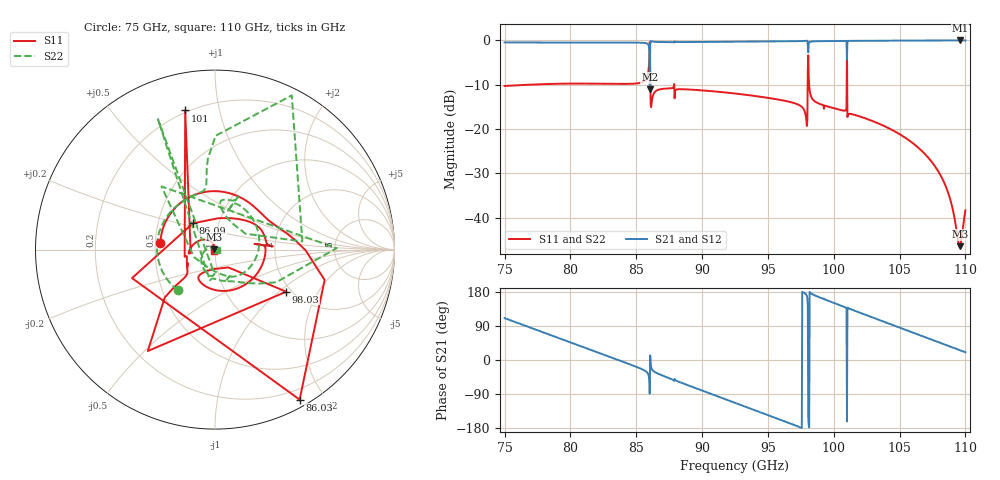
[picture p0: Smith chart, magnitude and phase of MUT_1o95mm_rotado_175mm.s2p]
! TOUCHSTONE file generated by CST MICROWAVE STUDIO
! Date and time: Wed Feb 14 17:05:47 2024
! Project name: material_rotado.cst
! Parameters = {angY=1.75}
! Header version: 2018
! Port assignment regex: !\s*Touchstone port\s*([0-9]+)\s*=\s*(CST MWS port|CST DS port)\s*([0-9]+|Zmin|Zmax)\s*\(\"(.*)\"\)(\s*mode\s*([0-9]+))?.*
! Touchstone port assignment:
! Touchstone port 1 = CST MWS port 1 ("")
! Touchstone port 2 = CST MWS port 2 ("")
# GHz S MA R 376.7
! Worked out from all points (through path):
!   1001 points, 75 GHz to 110 GHz, reference 376.7 ohm
!   highest |S21| = 0.00 dB at 109.6 GHz (marker M1); lowest = -11.0 dB at 86.03 GHz (marker M2)
!   lowest |S11| = -46.5 dB at 109.6 GHz (marker M3), VSWR 1.01, Z = 373 + j0.494 ohm
!   |S11| at or under -10 dB: 87.88 GHz to 98.02 GHz (10.14 GHz wide, 10.9 % of centre); 98.13 GHz to 101 GHz (2.852 GHz wide, 2.87 % of centre); 101 GHz to end of sweep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
!   |S22| runs from -46.8 to -0.4 dB; largest |S21 - S12| = 0
!   S11 on the Smith chart (normalised r, x): 75 GHz: 0.53, +0.04; 86.03 GHz: 0.08, -1.71; 86.09 GHz: 0.75, +0.23; 98.03 GHz: 1.88, -1.12; 101 GHz: 0.19, +0.79; 110 GHz: 0.98, -0.02
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75  0.3064 173.2  0.9519 110.5  0.9519 110.5  0.3064 -132.2
77.835  0.3207 135.9  0.9467 74.3  0.9467 74.3  0.3203 -167.5
80.845  0.3259 96.2  0.9455 35.9  0.9455 35.9  0.3251 155.6
83.855  0.323 55.4  0.9464 -2.8  0.9464 -2.8  0.323 119.0
85.5  0.339 29.2  0.9408 -25.4  0.9408 -25.4  0.339 99.9
85.85  0.3954 15.2  0.9185 -34.0  0.9185 -34.0  0.3954 96.9
86.025  0.9597 -60.6  0.2808 -88.5  0.2808 -88.5  0.9598 63.5
86.095  0.1913 130.2  0.9815 -11.1  0.9815 -11.1  0.1913 27.6
86.27  0.2391 41.9  0.971 -28.0  0.971 -28.0  0.2391 82.1
86.69  0.2778 24.7  0.9607 -36.6  0.9607 -36.6  0.2778 82.0
89.63  0.2756 -18.9  0.9609 -75.7  0.9609 -75.7  0.2756 47.4
92.5  0.2517 -57.3  0.9678 -112.8  0.9678 -112.8  0.2517 11.8
95.755  0.2156 -100.0  0.9765 -154.9  0.9765 -154.9  0.2152 -29.8
97.82  0.154 -119.6  0.9881 175.7  0.9881 175.7  0.154 -69.1
98.03  0.4608 -30.6  0.8875 139.8  0.8875 139.8  0.4608 130.2
98.345  0.2225 -137.5  0.9749 174.2  0.9749 174.2  0.2225 -54.1
101.005  0.793 102.1  0.6092 -162.1  0.6092 -162.1  0.793 113.6
104.19  0.1018 150.8  0.9947 96.1  0.9947 96.1  0.1018 -138.6
107.9  0.03403 108.0  0.9994 47.7  0.9994 47.7  0.03405 167.2
108.775  0.01746 103.8  0.9998 36.2  0.9998 36.2  0.0175 148.0
109.58  0.004752 172.0  1 25.8  1 25.8  0.004587 59.7
110  0.01206 -129.9  0.9999 20.4  0.9999 20.4  0.01206 -9.3
